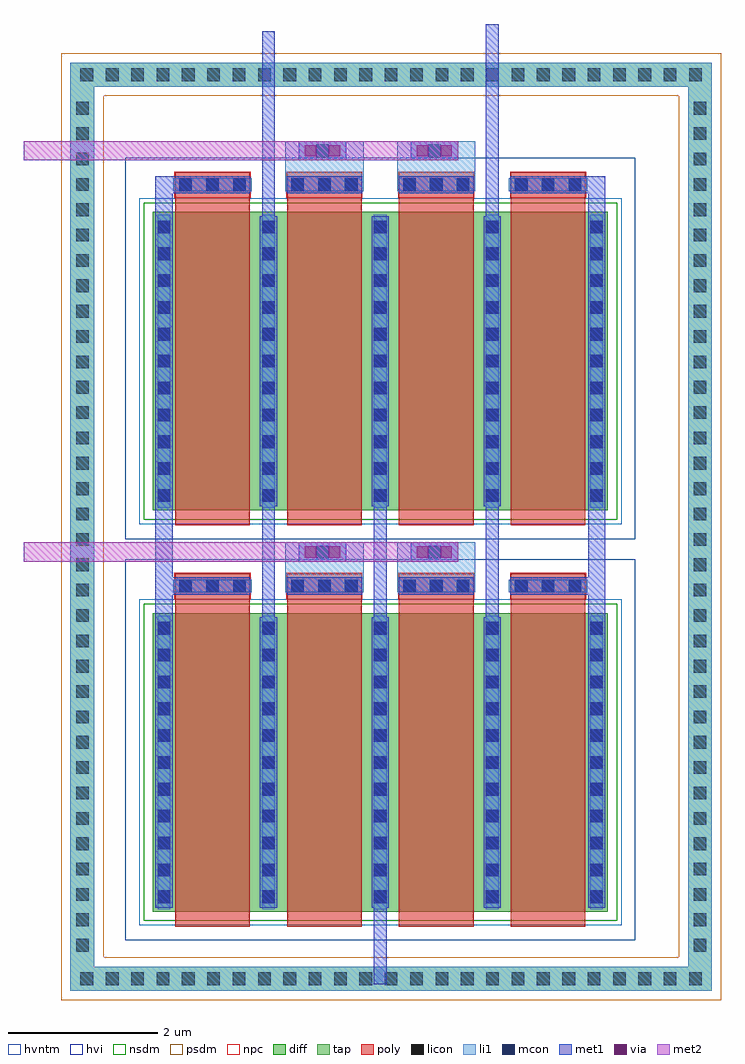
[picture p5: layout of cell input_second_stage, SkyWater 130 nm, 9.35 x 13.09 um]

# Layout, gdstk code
from math import pi, radians
import gdstk
lib = gdstk.Library(unit=1e-6, precision=1e-09)
def R(c, l, rs):  # rectangles x0, y0, x1, y1
    for r in rs: c.add(gdstk.rectangle(r[:2], r[2:], *l))
def A(c, l, x, y, w, h, nx, ny, dx, dy):  # array of equal rectangles
    R(c, l, [(x+i*dx, y+j*dy, x+i*dx+w, y+j*dy+h) for i in range(nx) for j in range(ny)])
diff = (65, 20)
tap = (65, 44)
poly = (66, 20)
licon = (66, 44)
li1 = (67, 20)
mcon = (67, 44)
met1 = (68, 20)
via = (68, 44)
met2 = (69, 20)
hvi = (75, 20)
nsdm = (93, 44)
psdm = (94, 20)
npc = (95, 20)
hvntm = (125, 20)

nfet_4 = lib.new_cell('nfet$4')
R(nfet_4, diff, [(0,0,6.1,4)])
A(nfet_4, poly, 0.3, -0.2, 1, 4.4, 4, 1, 1.5, 0)
A(nfet_4, poly, 0.3, 4.2, 1, 0.33, 4, 1, 1.5, 0)
A(nfet_4, licon, 0.065, 0.115, 0.17, 0.17, 1, 11, 0, 0.36)
A(nfet_4, licon, 1.465, 0.115, 0.17, 0.17, 3, 11, 1.5, 0.36)
A(nfet_4, licon, 5.865, 0.115, 0.17, 0.17, 1, 11, 0, 0.36)
A(nfet_4, licon, 0.355, 4.28, 0.17, 0.17, 3, 1, 0.36, 0)
A(nfet_4, licon, 1.855, 4.28, 0.17, 0.17, 3, 1, 0.36, 0)
A(nfet_4, licon, 3.355, 4.28, 0.17, 0.17, 3, 1, 0.36, 0)
A(nfet_4, licon, 4.855, 4.28, 0.17, 0.17, 3, 1, 0.36, 0)
A(nfet_4, li1, 1.465, 0.035, 0.17, 3.93, 3, 1, 1.5, 0)
A(nfet_4, li1, 0.275, 4.28, 1.05, 0.17, 4, 1, 1.5, 0)
R(nfet_4, li1, [(0.065,0.035,0.235,3.965), (5.865,0.035,6.035,3.965)])
A(nfet_4, mcon, 0.065, 0.115, 0.17, 0.17, 1, 11, 0, 0.36)
A(nfet_4, mcon, 1.465, 0.115, 0.17, 0.17, 3, 11, 1.5, 0.36)
A(nfet_4, mcon, 5.865, 0.115, 0.17, 0.17, 1, 11, 0, 0.36)
A(nfet_4, mcon, 0.355, 4.28, 0.17, 0.17, 3, 1, 0.36, 0)
A(nfet_4, mcon, 1.855, 4.28, 0.17, 0.17, 3, 1, 0.36, 0)
A(nfet_4, mcon, 3.355, 4.28, 0.17, 0.17, 3, 1, 0.36, 0)
A(nfet_4, mcon, 4.855, 4.28, 0.17, 0.17, 3, 1, 0.36, 0)
A(nfet_4, met1, 1.435, 0.055, 0.23, 3.89, 3, 1, 1.5, 0)
A(nfet_4, met1, 0.295, 4.25, 1.01, 0.23, 4, 1, 1.5, 0)
R(nfet_4, met1, [(0.035,0.055,0.265,3.945), (5.835,0.055,6.065,3.945)])
R(nfet_4, hvi, [(-0.37,-0.385,6.47,4.725)])
R(nfet_4, nsdm, [(-0.125,-0.125,6.225,4.125)])
A(nfet_4, npc, 0.29, 4.19, 1.02, 0.35, 4, 1, 1.5, 0)
R(nfet_4, hvntm, [(-0.185,-0.185,6.285,4.185)])

vias_gen_30 = lib.new_cell('vias_gen$30')
R(vias_gen_30, li1, [(0,0,0.64,0.26)])
R(vias_gen_30, mcon, [(0.235,0.045,0.405,0.215)])
R(vias_gen_30, met1, [(0,0,0.64,0.26)])
R(vias_gen_30, via, [(0.085,0.055,0.235,0.205), (0.405,0.055,0.555,0.205)])
R(vias_gen_30, met2, [(0,0,0.64,0.26)])

vias_gen_29 = lib.new_cell('vias_gen$29')
R(vias_gen_29, tap, [(0,0,11.8,0.32)])
A(vias_gen_29, licon, 0.205, 0.075, 0.17, 0.17, 34, 1, 0.34, 0)
R(vias_gen_29, li1, [(0,0,11.8,0.32)])
R(vias_gen_29, psdm, [(-0.125,-0.125,11.925,0.445)])

vias_gen_28 = lib.new_cell('vias_gen$28')
R(vias_gen_28, tap, [(0,0,8.6,0.32)])
A(vias_gen_28, licon, 0.135, 0.075, 0.17, 0.17, 25, 1, 0.34, 0)
R(vias_gen_28, li1, [(0,0,8.6,0.32)])
R(vias_gen_28, psdm, [(-0.125,-0.125,8.725,0.445)])

input_second_stage = lib.new_cell('input_second_stage')
R(input_second_stage, li1, [(7.34,15.95,8.39,16.45), (8.84,15.95,9.89,16.45), (7.34,21.33,8.39,21.83), (8.84,21.33,9.89,21.83)])
R(input_second_stage, met1, [(8.53,10.525,8.7,16.94), (5.595,11.555,5.83,21.335), (11.4,11.555,11.63,21.36), (10.03,15.385,10.2,23.4), (7.03,15.43,7.2,23.3), (11.37,15.745,11.58,15.98), (5.595,15.75,5.86,15.98), (5.595,21.13,5.86,21.36), (11.37,21.13,11.63,21.36)])
R(input_second_stage, met2, [(3.835,16.19,9.23,16.45), (3.835,21.57,9.23,21.83)])
input_second_stage.add(gdstk.Reference(nfet_4, (5.565,16.88)))
input_second_stage.add(gdstk.Reference(nfet_4, (5.565,11.5)))
input_second_stage.add(gdstk.Reference(vias_gen_30, (7.52,21.57)))
input_second_stage.add(gdstk.Reference(vias_gen_30, (9.02,21.57)))
input_second_stage.add(gdstk.Reference(vias_gen_30, (7.52,16.19)))
input_second_stage.add(gdstk.Reference(vias_gen_30, (9.02,16.19)))
input_second_stage.add(gdstk.Reference(vias_gen_29, (4.46,22.56), rotation=3*pi/2))
input_second_stage.add(gdstk.Reference(vias_gen_28, (13.06,22.88), rotation=pi))
input_second_stage.add(gdstk.Reference(vias_gen_29, (12.74,22.56), rotation=3*pi/2))
input_second_stage.add(gdstk.Reference(vias_gen_28, (13.06,10.76), rotation=pi))

lib.write_gds('input_second_stage.gds')
